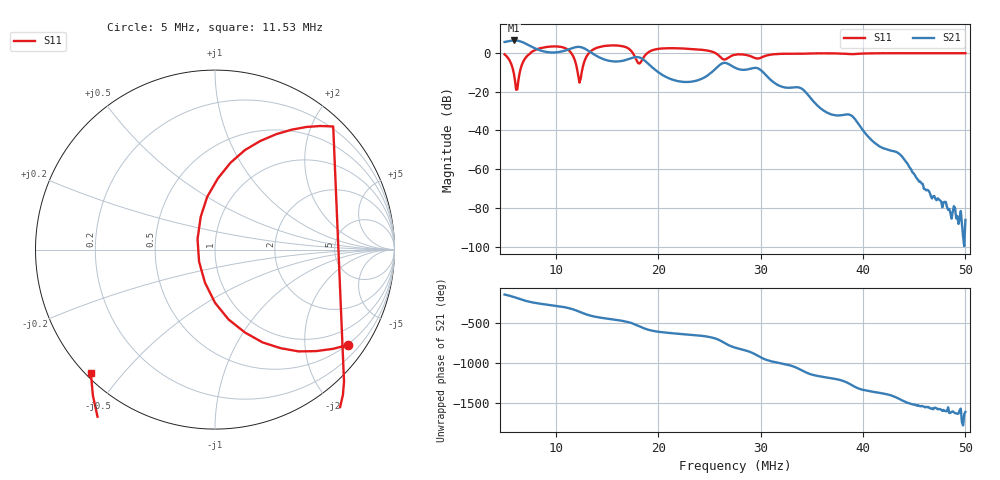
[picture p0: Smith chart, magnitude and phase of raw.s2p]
! S11/S21 only; reverse parameters are placeholders. Device calibration unverified.
! NanoVNA F V2 profile | COM3 | 2026-09-08T12:01:30.9638011-04:00 | device calibration unverified
# HZ S RI R 50
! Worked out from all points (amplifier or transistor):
!   401 points, 5 MHz to 50 MHz, reference 50 ohm
!   highest |S21| = 6.4 dB at 5.9 MHz (marker M1)
!   |S21| within 3 dB of that: start of sweep to 7.553 MHz
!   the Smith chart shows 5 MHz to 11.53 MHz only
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5000000  0.7423 -0.5311  -1.527 -1.132  0 0  0 0
5900000  0.000371 -0.2968  -2.076 -0.2079  0 0  0 0
6237500  -0.0974 0.0582  -2.031 0.3452  0 0  0 0
7250000  0.5112 0.6836  -1.087 1.211  0 0  0 0
7812500  0.6971 -0.8772  -0.6066 1.223  0 0  0 0
1.00625e7  -0.0477 -1.462  0.2584 0.9947  0 0  0 0
1.1525e7  -0.6918 -0.6861  1.021 0.8066  0 0  0 0
1.25375e7  0.2554 0.1994  1.359 -0.225  0 0  0 0
1.38875e7  1.136 -0.652  0.4186 -0.7516  0 0  0 0
1.61375e7  0.5229 -1.439  -0.1413 -0.5849  0 0  0 0
1.70375e7  -0.2087 -1.304  -0.3981 -0.5505  0 0  0 0
1.77125e7  -0.714 -0.3739  -0.6918 -0.3397  0 0  0 0
1.85e7  0.2861 0.6471  -0.6495 0.21  0 0  0 0
2.0075e7  1.27 -0.0767  -0.1144 0.2858  0 0  0 0
2.33375e7  1.084 -0.6256  0.0496 0.1743  0 0  0 0
2.62625e7  0.5187 -0.4727  0.5266 -0.095  0 0  0 0
2.75e7  0.8098 -0.3729  0.0434 -0.4103  0 0  0 0
3.0425e7  0.7659 -0.3153  -0.1824 0.2166  0 0  0 0
3.50375e7  0.7002 -0.6613  0.029 -0.0534  0 0  0 0
4.2575e7  0.4419 -0.869  0.0021 0.00226  0 0  0 0
4.685e7  0.2792 -0.9347  -0.000134 -0.000146  0 0  0 0
5e7  0.1588 -0.9642  -4.7e-05 -1.2e-05  0 0  0 0
